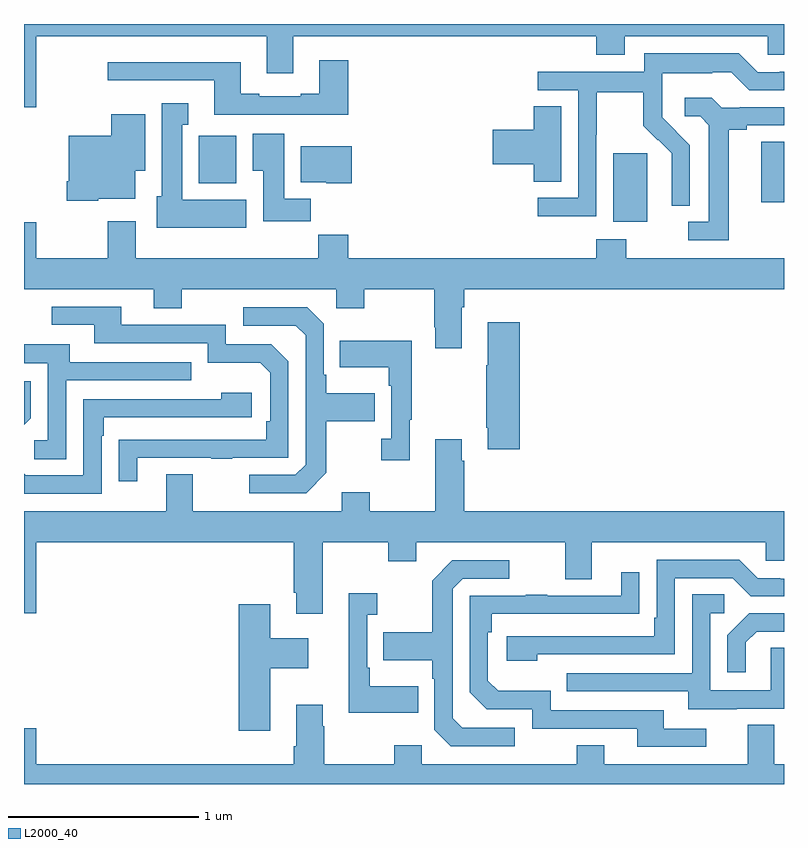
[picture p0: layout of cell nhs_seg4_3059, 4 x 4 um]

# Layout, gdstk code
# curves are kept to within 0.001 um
import gdstk
lib = gdstk.Library(unit=1e-6, precision=1e-09)
def R(c, l, rs):  # rectangles x0, y0, x1, y1
    for r in rs: c.add(gdstk.rectangle(r[:2], r[2:], *l))
def P(c, l, *ps):  # polygons
    for p in ps: c.add(gdstk.Polygon(p, *l))
L2000_40 = (2000, 40)

nhs_seg4_3059 = lib.new_cell('nhs_seg4_3059')
R(nhs_seg4_3059, L2000_40, [(276.101,779.858,276.28,780.219), (276.881,779.961,277,780.281), (273.921,780.062,274.117,780.312)])
P(nhs_seg4_3059, L2000_40, [(273.064,780.836),(274.277,780.836),(274.277,780.642),(274.417,780.642),(274.417,780.836),(276.011,780.836),(276.011,780.737),(276.163,780.737),(276.163,780.836),(276.915,780.836),(276.915,780.738),(277,780.738),(277,780.9),(273,780.9),(273,780.462),(273.064,780.462)],
  [(276.012,780.316),(276.015,780.316),(276.015,780.54),(276.259,780.54),(276.259,780.365),(276.336,780.288),(276.339,780.291),(276.41,780.221),(276.41,780.098),(276.408,780.098),(276.408,779.944),(276.504,779.944),(276.504,780.262),(276.358,780.41),(276.358,780.507),(276.36,780.507),(276.36,780.641),(276.623,780.641),(276.623,780.645),(276.723,780.645),(276.816,780.552),(277,780.552),(277,780.648),(276.977,780.648),(276.977,780.645),(276.861,780.645),(276.761,780.745),(276.264,780.745),(276.264,780.648),(275.703,780.648),(275.703,780.552),(275.916,780.552),(275.916,779.985),(275.703,779.985),(275.703,779.887),(276.012,779.887)],
  [(274.706,780.709),(274.553,780.709),(274.553,780.532),(274.457,780.532),(274.457,780.519),(274.237,780.519),(274.237,780.532),(274.141,780.532),(274.141,780.7),(273.441,780.7),(273.441,780.603),(274.001,780.603),(274.001,780.423),(274.461,780.423),(274.461,780.422),(274.706,780.422)],
  [(276.709,780.344),(276.805,780.344),(276.805,780.366),(277,780.366),(277,780.462),(276.766,780.462),(276.766,780.459),(276.672,780.459),(276.62,780.511),(276.477,780.511),(276.477,780.414),(276.558,780.414),(276.605,780.367),(276.605,779.859),(276.495,779.859),(276.495,779.763),(276.709,779.763)],
  [(274.171,779.974),(273.832,779.974),(273.832,780.371),(273.865,780.371),(273.865,780.484),(273.725,780.484),(273.725,779.994),(273.698,779.994),(273.698,779.828),(274.171,779.828)],
  [(275.827,780.467),(275.684,780.467),(275.684,780.344),(275.466,780.344),(275.466,780.161),(275.684,780.161),(275.684,780.07),(275.827,780.07)],
  [(273.39,779.981),(273.586,779.981),(273.586,780.128),(273.637,780.128),(273.637,780.424),(273.458,780.424),(273.458,780.313),(273.236,780.313),(273.236,780.073),(273.224,780.073),(273.224,779.969),(273.39,779.969)],
  [(274.508,779.98),(274.369,779.98),(274.369,780.322),(274.205,780.322),(274.205,780.128),(274.259,780.128),(274.259,779.862),(274.508,779.862)],
  [(274.726,780.256),(274.457,780.256),(274.457,780.068),(274.59,780.068),(274.59,780.062),(274.726,780.062)],
  [(275.305,779.408),(275.318,779.408),(275.318,779.504),(277,779.504),(277,779.668),(276.171,779.668),(276.171,779.767),(276.011,779.767),(276.011,779.668),(274.706,779.668),(274.706,779.792),(274.549,779.792),(274.549,779.668),(273.589,779.668),(273.589,779.863),(273.442,779.863),(273.442,779.668),(273.064,779.668),(273.064,779.857),(273,779.857),(273,779.504),(273.683,779.504),(273.683,779.405),(273.831,779.405),(273.831,779.504),(274.644,779.504),(274.644,779.405),(274.791,779.405),(274.791,779.504),(275.158,779.504),(275.158,779.305),(275.165,779.305),(275.165,779.193),(275.305,779.193)],
  [(273.595,778.617),(273.985,778.617),(273.985,778.612),(274.097,778.612),(274.097,778.617),(274.392,778.617),(274.392,779.124),(274.302,779.214),(274.062,779.214),(274.062,779.316),(273.511,779.316),(273.511,779.412),(273.147,779.412),(273.147,779.316),(273.371,779.316),(273.371,779.22),(273.966,779.22),(273.966,779.117),(274.243,779.117),(274.296,779.064),(274.296,778.81),(274.276,778.81),(274.276,778.713),(273.499,778.712),(273.499,778.494),(273.595,778.494)],
  [(274.591,778.537),(274.591,778.81),(274.847,778.81),(274.847,778.957),(274.591,778.957),(274.591,779.053),(274.578,779.053),(274.578,779.322),(274.491,779.409),(274.155,779.409),(274.155,779.313),(274.431,779.313),(274.482,779.262),(274.482,778.581),(274.428,778.527),(274.185,778.527),(274.185,778.431),(274.485,778.431)],
  [(275.609,779.329),(275.441,779.329),(275.441,779.105),(275.434,779.105),(275.434,778.774),(275.441,778.774),(275.441,778.662),(275.609,778.662)],
  [(275.029,778.817),(275.041,778.817),(275.041,779.233),(274.663,779.233),(274.663,779.093),(274.92,779.093),(274.92,778.997),(274.932,778.997),(274.932,778.718),(274.881,778.718),(274.881,778.605),(275.029,778.605)],
  [(273.222,779.025),(273.881,779.025),(273.881,779.121),(273.241,779.121),(273.241,779.215),(273,779.215),(273,779.115),(273.126,779.115),(273.126,778.71),(273.054,778.71),(273.054,778.609),(273.222,778.609)],
  [(273.036,778.826),(273.036,779.02),(273,779.02),(273,778.79)],
  [(273.408,778.733),(273.421,778.733),(273.421,778.83),(274.198,778.83),(274.198,778.96),(274.037,778.96),(274.037,778.926),(273.312,778.926),(273.312,778.524),(273.009,778.524),(273,778.533),(273,778.428),(273.408,778.428)],
  [(274.573,778.172),(274.918,778.172),(274.918,778.073),(275.065,778.073),(275.065,778.172),(275.849,778.172),(275.849,777.978),(275.989,777.978),(275.989,778.172),(276.903,778.172),(276.903,778.074),(277,778.074),(277,778.336),(275.318,778.336),(275.318,778.601),(275.305,778.601),(275.305,778.714),(275.165,778.714),(275.165,778.336),(274.821,778.336),(274.821,778.435),(274.673,778.435),(274.673,778.336),(273.889,778.336),(273.889,778.531),(273.749,778.531),(273.749,778.336),(273,778.336),(273,777.798),(273.064,777.798),(273.064,778.172),(274.421,778.172),(274.421,777.907),(274.433,777.907),(274.433,777.795),(274.573,777.795)],
  [(275.702,777.582),(276.426,777.582),(276.426,777.984),(276.729,777.984),(276.825,777.888),(277,777.888),(277,777.981),(276.98,777.981),(276.98,777.984),(276.861,777.984),(276.765,778.08),(276.33,778.08),(276.33,777.775),(276.317,777.775),(276.317,777.678),(275.541,777.678),(275.541,777.548),(275.702,777.548)],
  [(275.584,777.195),(275.307,777.195),(275.256,777.246),(275.256,777.927),(275.31,777.981),(275.554,777.981),(275.554,778.077),(275.253,778.077),(275.148,777.971),(275.148,777.699),(274.891,777.699),(274.891,777.551),(275.148,777.551),(275.148,777.455),(275.16,777.455),(275.16,777.186),(275.247,777.099),(275.584,777.099)],
  [(276.592,777.192),(276.367,777.192),(276.367,777.288),(275.772,777.288),(275.772,777.391),(275.495,777.391),(275.442,777.444),(275.442,777.698),(275.462,777.698),(275.462,777.795),(276.239,777.796),(276.239,778.015),(276.143,778.015),(276.143,777.891),(275.753,777.891),(275.753,777.896),(275.641,777.896),(275.641,777.891),(275.346,777.891),(275.346,777.384),(275.436,777.294),(275.676,777.294),(275.676,777.192),(276.227,777.192),(276.227,777.096),(276.592,777.096)],
  [(275.075,777.415),(274.819,777.415),(274.819,777.511),(274.806,777.511),(274.806,777.791),(274.858,777.791),(274.858,777.904),(274.709,777.904),(274.709,777.275),(275.075,777.275)],
  [(276.751,777.297),(277,777.297),(277,777.617),(276.93,777.617),(276.93,777.393),(276.612,777.393),(276.612,777.798),(276.685,777.798),(276.685,777.899),(276.516,777.899),(276.516,777.483),(275.857,777.483),(275.857,777.387),(276.497,777.387),(276.497,777.293),(276.751,777.293)],
  [(274.297,777.509),(274.495,777.509),(274.495,777.667),(274.297,777.667),(274.297,777.847),(274.13,777.847),(274.13,777.18),(274.297,777.18)],
  [(276.799,777.645),(276.856,777.702),(277,777.702),(277,777.798),(276.818,777.798),(276.702,777.682),(276.702,777.489),(276.799,777.489)],
  [(277,777.004),(276.949,777.004),(276.949,777.212),(276.809,777.212),(276.809,777.004),(276.055,777.004),(276.055,777.103),(275.908,777.103),(275.908,777.004),(275.094,777.004),(275.094,777.103),(274.948,777.103),(274.948,777.004),(274.581,777.004),(274.581,777.203),(274.573,777.203),(274.573,777.316),(274.433,777.316),(274.433,777.1),(274.421,777.1),(274.421,777.004),(273.064,777.004),(273.064,777.193),(273,777.193),(273,776.9),(277,776.9)])

lib.write_gds('nhs_seg4_3059.gds')
